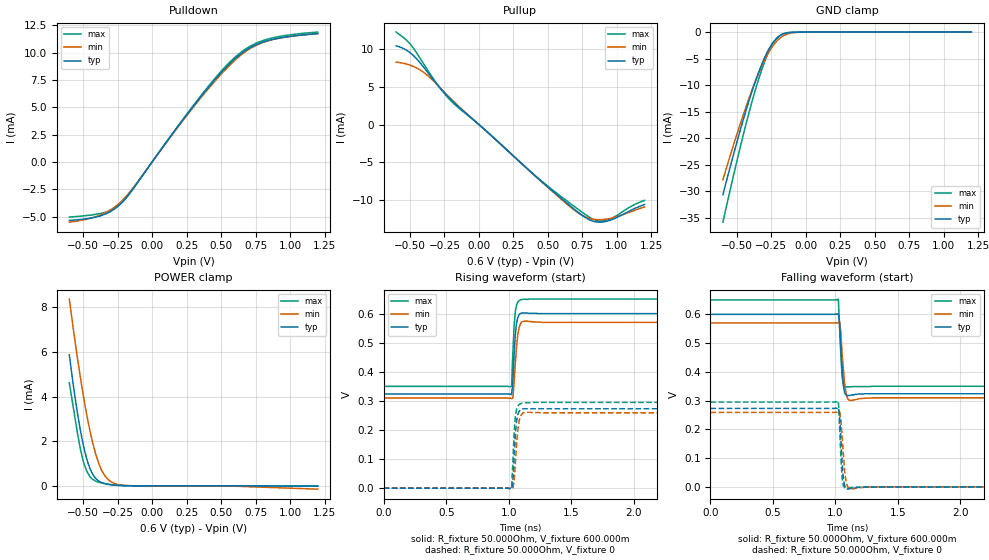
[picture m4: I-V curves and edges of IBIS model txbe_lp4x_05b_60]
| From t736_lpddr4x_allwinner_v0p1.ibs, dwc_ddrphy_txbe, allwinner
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[Model] txbe_lp4x_05b_60
Model_type   I/O
Polarity   Non-Inverting
Enable   Active-High
C_comp   1.525pF   1.517pF   1.533pF
C_comp_pullup   282.426fF   275.466fF   284.310fF
C_comp_pulldown 1.185pF   1.182pF   1.189pF
Vinh = 360.000mV
Vinl = 307.000mV
Vmeas = 300.000mV
Vref = 300.000mV
Rref = 50Ohms
Cref = 0pF
[Model Spec]
Vinh   360.000mV   345.000mV   450.000mV
Vinl   307.000mV   293.000mV   330.000mV
Vmeas   300.000mV   285.000mV   325.000mV
Vref   300.000mV   285.000mV   325.000mV
D_overshoot_ampl_h 0.1 NA   NA
D_overshoot_ampl_l 0.1 NA   NA
D_overshoot_area_l 300.000m NA   NA
D_overshoot_area_h 300.000m NA   NA
[Receiver Thresholds]
Vth = 163.000mV
Vth_min = 143.000mV
Vth_max = 150.000mV
Vinh_ac = 60.000mV
Vinh_dc = 60.000mV
Vinl_ac = -60.000mV
Vinl_dc = -60.000mV
Tslew_ac = 5.000ns
Threshold_sensitivity = 0.5
Reference_supply Pullup_ref
[Temperature Range]   25.000   125.000   -40.000
[Voltage Range]   600.000mV   570.000mV   650.000mV
[GND Clamp Reference]   0.00V   0.00V   0.00V
[C Comp Corner]
| variable   typ   min   max
C_comp 1.525pF   1.533pF   1.517pF
C_comp_pullup 282.426fF   284.310fF   275.466fF
C_comp_pulldown 1.182pF   1.189pF   1.185pF
[Pulldown Reference]   0.00V   0.00V   0.00V
[POWER Clamp Reference]   600.000mV   570.000mV   650.000mV
[Pullup Reference]   600.000mV   570.000mV   650.000mV
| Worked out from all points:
|   slope of the pulldown table from 0 to 0.09 V, typ, clamps not added: 56.9 ohm
|   slope of the pullup table from 0 to 0.09 V, typ, clamps not added: 61.3 ohm
|   GND clamp passes 1 mA (typ) near -0.20 V on its own axis
|   POWER clamp passes 1 mA (typ) near -0.46 V on its own axis
|   rising waveform, R_fixture 50.000Ohm, V_fixture 600.000m: 20-80 % time 22.8ps typ, 27.4ps min, 21.3ps max; typ from 0.324 V to 0.6 V
|   rising waveform, R_fixture 50.000Ohm, V_fixture 0: 20-80 % time 23.1ps typ, 27.5ps min, 21.6ps max; typ from 0 V to 0.273 V
|   falling waveform, R_fixture 50.000Ohm, V_fixture 600.000m: 20-80 % time 22.2ps typ, 27.1ps min, 20.4ps max; typ from 0.6 V to 0.324 V
|   falling waveform, R_fixture 50.000Ohm, V_fixture 0: 20-80 % time 21.5ps typ, 26.8ps min, 19.2ps max; typ from 0.273 V to 0 V
[GND Clamp]
-600mV    -30.61mA   -27.8mA    -35.78mA
-520mV    -22.73mA   -20.97mA   -26.64mA
-450mV    -16.28mA   -15.37mA   -19.1mA
-390mV    -11.21mA   -10.96mA   -13.16mA
-350mV    -8.181mA   -8.298mA   -9.582mA
-300mV    -4.923mA   -5.382mA   -5.708mA
-260mV    -2.864mA   -3.463mA   -3.244mA
-230mV    -1.706mA   -2.312mA   -1.856mA
-190mV    -705.6uA   -1.194mA   -684.3uA
-130mV    -123.8uA   -327.5uA   -84.42uA
-40mV     -3.823uA   -18.15uA   -1.471uA
1.2V      1.202uA    9.468uA    355.6nA
[Power Clamp]
-600mV    5.867mA    8.37mA     4.619mA
-560mV    4.027mA    6.539mA    3.087mA
-520mV    2.489mA    4.867mA    1.655mA
-500mV    1.861mA    4.102mA    1.131mA
-470mV    1.12mA     3.062mA    608.9uA
-430mV    508.3uA    1.908mA    287uA
-390mV    225.6uA    1.059mA    165.6uA
-340mV    92.46uA    430uA      93.34uA
-300mV    48.11uA    190.2uA    55.9uA
-170mV    2.644uA    10.51uA    3.018uA
530mV     -286.1nA   -4.802uA   -57.47nA
1.2V      -18.54uA   -150.4uA   -4.334uA
[Pulldown]
-600mV    -5.36mA    -5.52mA    -5.05mA
-370mV    -4.922mA   -4.829mA   -4.71mA
-300mV    -4.532mA   -4.377mA   -4.429mA
-230mV    -3.854mA   -3.691mA   -3.854mA
-150mV    -2.655mA   -2.568mA   -2.687mA
160mV     2.789mA    2.741mA    2.823mA
380mV     6.401mA    6.288mA    6.494mA
530mV     8.59mA     8.446mA    8.719mA
660mV     10.07mA    9.954mA    10.19mA
750mV     10.72mA    10.66mA    10.86mA
860mV     11.19mA    11.17mA    11.33mA
1.2V      11.75mA    11.76mA    11.9mA
[Pullup]
-600mV    10.42mA    8.271mA    12.23mA
-500mV    9.518mA    7.869mA    10.69mA
-410mV    7.811mA    7.031mA    8.305mA
-280mV    4.809mA    4.847mA    4.784mA
-190mV    3.059mA    3.179mA    2.906mA
400mV     -6.663mA   -6.68mA    -6.635mA
600mV     -9.811mA   -9.935mA   -9.585mA
710mV     -11.48mA   -11.56mA   -11.1mA
790mV     -12.51mA   -12.34mA   -12.13mA
860mV     -12.9mA    -12.58mA   -12.72mA
920mV     -12.81mA   -12.52mA   -12.7mA
1.2V      -10.57mA   -10.9mA    -10.03mA
[Ramp]
R_load=50.000Ohm
dV/dt_r   164.690mV/23.000ps  155.610mV/28.000ps  178.498mV/21.000ps
dV/dt_f   164.688mV/22.500ps  155.610mV/28.000ps  178.497mV/19.500ps
[Rising waveform]
R_fixture=50.000Ohm
V_fixture=600.000m
V_fixture_min=570.000m
V_fixture_max=650.000m
0s        324mV      310mV      350mV
1.023ns   321mV      308mV      351mV
1.033ns   366mV      309mV      464mV
1.043ns   458mV      361mV      556mV
1.053ns   528mV      429mV      608mV
1.063ns   568mV      487mV      630mV
1.073ns   587mV      528mV      640mV
1.083ns   596mV      552mV      645mV
1.113ns   602mV      573mV      649mV
10ns      600mV      570mV      650mV
[Rising waveform]
R_fixture=50.000Ohm
V_fixture=0
0s        34.26uV    299.9uV    8.103uV
1.023ns   -3.197mV   -1.333mV   344.3uV
1.033ns   20.63mV    -1.528mV   87.31mV
1.043ns   101mV      23.03mV    187mV
1.053ns   183mV      81.74mV    246mV
1.063ns   231mV      148mV      271mV
1.083ns   264mV      230mV      288mV
1.103ns   271mV      254mV      292mV
1.133ns   273mV      261mV      294mV
10ns      273mV      259mV      295mV
[Falling waveform]
R_fixture=50.000Ohm
V_fixture=600.000m
V_fixture_min=570.000m
V_fixture_max=650.000m
0s        600mV      570mV      650mV
1.023ns   603mV      571mV      653mV
1.033ns   572mV      573mV      548mV
1.043ns   482mV      537mV      457mV
1.053ns   408mV      462mV      383mV
1.063ns   353mV      410mV      357mV
1.073ns   328mV      360mV      350mV
1.083ns   320mV      329mV      348mV
1.113ns   318mV      301mV      348mV
10ns      324mV      310mV      350mV
[Falling waveform]
R_fixture=50.000Ohm
V_fixture=0
0s        273mV      259mV      295mV
1.023ns   276mV      260mV      299mV
1.033ns   252mV      263mV      208mV
1.043ns   168mV      235mV      104mV
1.053ns   85.1mV     174mV      30.76mV
1.063ns   29.25mV    111mV      5.375mV
1.083ns   -4.407mV   22.86mV    -3.149mV
1.103ns   -6.735mV   -3.615mV   -2.611mV
1.123ns   -4.839mV   -7.56mV    -1.728mV
10ns      39.37uV    300.4uV    10.05uV
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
